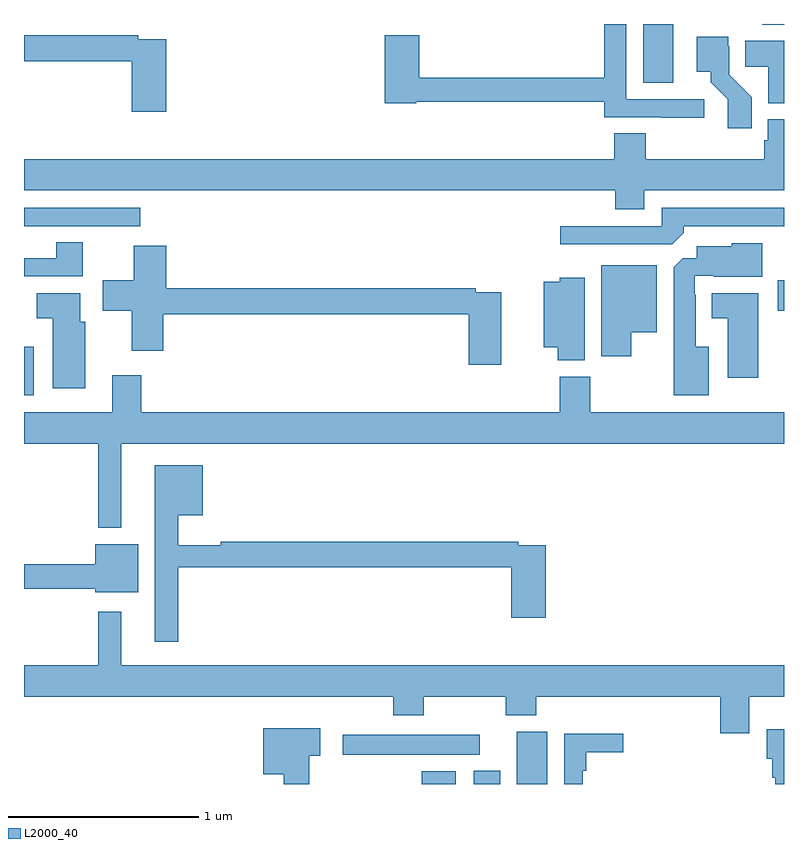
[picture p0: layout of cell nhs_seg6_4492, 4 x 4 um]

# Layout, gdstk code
import gdstk
lib = gdstk.Library(unit=1e-6, precision=1e-09)
def R(c, l, rs):  # rectangles x0, y0, x1, y1
    for r in rs: c.add(gdstk.rectangle(r[:2], r[2:], *l))
def P(c, l, *ps):  # polygons
    for p in ps: c.add(gdstk.Polygon(p, *l))
L2000_40 = (2000, 40)

nhs_seg6_4492 = lib.new_cell('nhs_seg6_4492')
R(nhs_seg6_4492, L2000_40, [(377.093,989.5,377.272,989.566), (377.366,989.5,377.506,989.569), (377.594,989.5,377.755,989.776), (376.677,989.654,377.398,989.758), (375,991.547,375.052,991.801), (378.966,991.99,379,992.152), (375,992.436,375.613,992.532), (378.26,993.19,378.418,993.5), (378.886,993.497,379,993.5)])
P(nhs_seg6_4492, L2000_40, [(378.58,993.105),(378.171,993.105),(378.171,993.5),(378.055,993.5),(378.055,993.218),(377.081,993.218),(377.081,993.442),(376.898,993.442),(376.898,993.082),(377.064,993.082),(377.064,993.09),(378.055,993.09),(378.055,993.009),(378.355,993.009),(378.355,993.007),(378.58,993.007)],
  [(375.749,993.42),(375.602,993.42),(375.602,993.44),(375,993.44),(375,993.304),(375.566,993.304),(375.566,993.039),(375.749,993.039)],
  [(378.83,993.114),(378.711,993.233),(378.711,993.384),(378.706,993.384),(378.706,993.433),(378.542,993.433),(378.542,993.248),(378.614,993.248),(378.614,993.193),(378.705,993.103),(378.705,992.952),(378.83,992.952)],
  [(379,993.412),(378.796,993.412),(378.796,993.274),(378.917,993.274),(378.917,993.083),(379,993.083)],
  [(378.265,992.624),(379,992.624),(379,992.998),(378.915,992.998),(378.915,992.889),(378.895,992.889),(378.895,992.788),(378.272,992.788),(378.272,992.924),(378.107,992.924),(378.107,992.788),(375,992.788),(375,992.624),(378.113,992.624),(378.113,992.525),(378.265,992.525)],
  [(378.473,992.402),(378.473,992.436),(379,992.436),(379,992.532),(378.357,992.532),(378.357,992.436),(377.823,992.436),(377.823,992.34),(378.411,992.34)],
  [(375.31,992.351),(375.17,992.351),(375.17,992.268),(375,992.268),(375,992.172),(375.31,992.172)],
  [(378.604,991.801),(378.535,991.801),(378.535,992.075),(378.531,992.075),(378.531,992.175),(378.631,992.175),(378.631,992.171),(378.886,992.171),(378.886,992.347),(378.726,992.347),(378.726,992.329),(378.542,992.329),(378.542,992.268),(378.468,992.268),(378.419,992.219),(378.419,991.547),(378.604,991.547)],
  [(377.512,992.088),(377.378,992.088),(377.378,992.108),(375.749,992.108),(375.749,992.332),(375.578,992.332),(375.578,992.152),(375.414,992.152),(375.414,991.99),(375.566,991.99),(375.566,991.779),(375.732,991.779),(375.732,991.972),(377.342,991.972),(377.342,991.707),(377.512,991.707)],
  [(378.196,991.877),(378.331,991.877),(378.331,992.23),(378.038,992.23),(378.038,991.752),(378.196,991.752)],
  [(377.95,992.164),(377.82,992.164),(377.82,992.143),(377.735,992.143),(377.735,991.799),(377.809,991.799),(377.809,991.729),(377.95,991.729)],
  [(375.322,991.932),(375.295,991.932),(375.295,992.083),(375.068,992.083),(375.068,991.952),(375.152,991.952),(375.152,991.584),(375.322,991.584)],
  [(378.865,992.083),(378.62,992.083),(378.62,991.952),(378.704,991.952),(378.704,991.638),(378.865,991.638)],
  [(375.511,991.292),(379,991.292),(379,991.456),(377.979,991.456),(377.979,991.644),(377.819,991.644),(377.819,991.456),(375.617,991.456),(375.617,991.651),(375.464,991.651),(375.464,991.456),(375,991.456),(375,991.292),(375.39,991.292),(375.39,990.848),(375.511,990.848)],
  [(375.811,990.64),(377.564,990.64),(377.564,990.375),(377.747,990.375),(377.747,990.756),(377.6,990.756),(377.6,990.776),(376.036,990.776),(376.036,990.757),(375.811,990.757),(375.811,990.914),(375.94,990.914),(375.94,991.177),(375.689,991.177),(375.689,990.249),(375.811,990.249)],
  [(375.601,990.763),(375.374,990.763),(375.374,990.656),(375,990.656),(375,990.528),(375.374,990.528),(375.374,990.509),(375.601,990.509)],
  [(378.817,989.96),(379,989.96),(379,990.124),(375.511,990.124),(375.511,990.406),(375.39,990.406),(375.39,990.124),(375,990.124),(375,989.96),(376.943,989.96),(376.943,989.861),(377.103,989.861),(377.103,989.96),(377.536,989.96),(377.536,989.861),(377.696,989.861),(377.696,989.96),(378.665,989.96),(378.665,989.766),(378.817,989.766)],
  [(376.501,989.65),(376.558,989.65),(376.558,989.794),(376.259,989.794),(376.259,989.552),(376.367,989.552),(376.367,989.5),(376.501,989.5)],
  [(379,989.788),(378.908,989.788),(378.908,989.634),(378.938,989.634),(378.938,989.534),(378.953,989.534),(378.953,989.5),(379,989.5)],
  [(377.94,989.57),(377.96,989.57),(377.96,989.666),(378.154,989.666),(378.154,989.765),(377.844,989.765),(377.844,989.5),(377.94,989.5)])

lib.write_gds('nhs_seg6_4492.gds')
